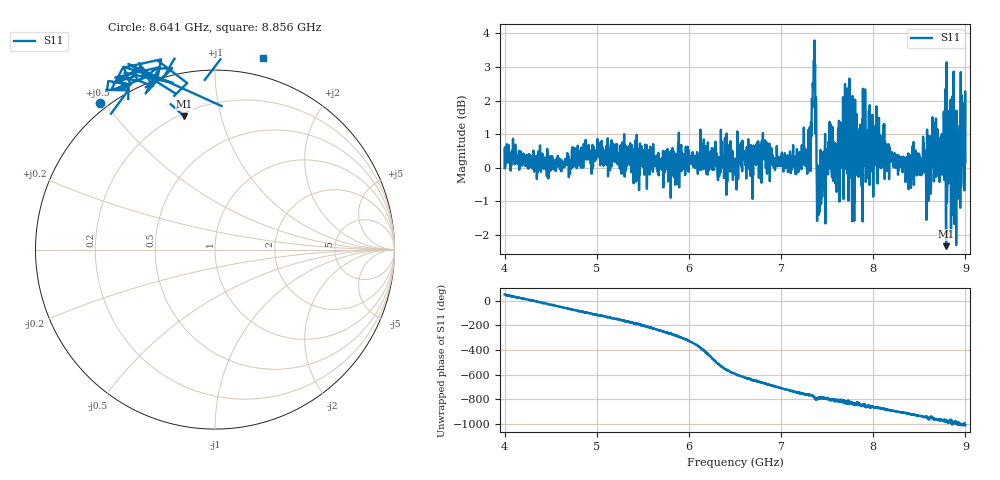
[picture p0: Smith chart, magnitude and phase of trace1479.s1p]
! Created with skrf 1.8.0 (http://scikit-rf.org).
# Hz S RI R 50.0
!freq ReS11 ImS11
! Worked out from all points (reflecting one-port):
!   1601 points, 4 GHz to 9 GHz, reference 50 ohm
!   lowest |S11| = -2.3 dB at 8.791 GHz (marker M1), VSWR 7.45, Z = 10.8 + j38.6 ohm
!   phase of S11 starts at 49 deg and turns -1055 deg over the sweep
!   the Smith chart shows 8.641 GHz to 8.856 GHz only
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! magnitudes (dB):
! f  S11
! 4 GHz  0.0
! 4.625 GHz  0.0
! 5.25 GHz  0.0
! 5.875 GHz  0.2
! 6.412 GHz  0.3
! 6.5 GHz  -0.1
! 6.728 GHz  0.7
! 7.125 GHz  0.1
! 7.294 GHz  -0.1
! 7.356 GHz  3.2
! 7.412 GHz  -0.6
! 7.516 GHz  0.8
! 7.588 GHz  -0.5
! 7.669 GHz  0.9
! 7.75 GHz  1.1
! 7.769 GHz  -0.9
! 7.822 GHz  0.8
! 8.009 GHz  0.9
! 8.375 GHz  -0.1
! 8.547 GHz  0.7
! 8.6 GHz  -0.9
! 8.656 GHz  1.3
! 8.766 GHz  1.7
! 8.791 GHz  -2.3
! 8.834 GHz  1.9
! 8.919 GHz  -0.1
! 8.972 GHz  0.4
! 9 GHz  0.2
